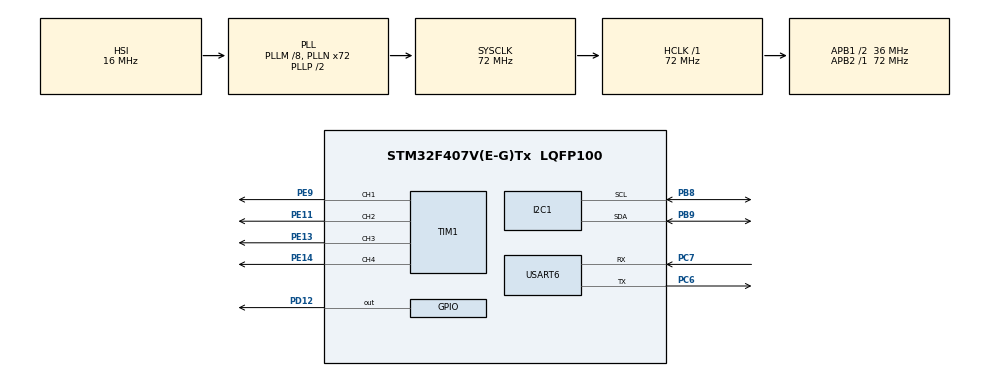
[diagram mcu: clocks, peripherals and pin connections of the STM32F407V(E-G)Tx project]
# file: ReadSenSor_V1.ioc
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I2C1.I2C_Mode=I2C_Fast
Mcu.Family=STM32F4
Mcu.Name=STM32F407V(E-G)Tx
Mcu.Package=LQFP100
NVIC.PriorityGroup=NVIC_PRIORITYGROUP_4
NVIC.TIM2_IRQn=true\:0\:0\:false\:false\:true\:true\:true\:true
NVIC.USART6_IRQn=true\:0\:0\:false\:false\:true\:true\:true\:true
PA13.Mode=Serial_Wire
PA13.Signal=SYS_JTMS-SWDIO
PA14.Mode=Serial_Wire
PA14.Signal=SYS_JTCK-SWCLK
PB8.Mode=I2C
PB8.Signal=I2C1_SCL
PB9.Mode=I2C
PB9.Signal=I2C1_SDA
PC6.Mode=Asynchronous
PC6.Signal=USART6_TX
PC7.Mode=Asynchronous
PC7.Signal=USART6_RX
PD12.Signal=GPIO_Output
PE11.Signal=S_TIM1_CH2
PE13.Signal=S_TIM1_CH3
PE14.Signal=S_TIM1_CH4
PE9.Signal=S_TIM1_CH1
PH0-OSC_IN.Mode=HSE-External-Oscillator
PH0-OSC_IN.Signal=RCC_OSC_IN
PH1-OSC_OUT.Mode=HSE-External-Oscillator
PH1-OSC_OUT.Signal=RCC_OSC_OUT
ProjectManager.HeapSize=0x200
ProjectManager.StackSize=0x400
ProjectManager.TargetToolchain=MDK-ARM V5.32
RCC.48MHZClocksFreq_Value=36000000
RCC.AHBFreq_Value=72000000
RCC.APB1CLKDivider=RCC_HCLK_DIV2
RCC.APB1Freq_Value=36000000
RCC.APB1TimFreq_Value=72000000
RCC.APB2Freq_Value=72000000
RCC.APB2TimFreq_Value=72000000
RCC.CortexFreq_Value=72000000
RCC.HCLKFreq_Value=72000000
RCC.HSE_VALUE=25000000
RCC.HSI_VALUE=16000000
RCC.LSE_VALUE=32768
RCC.PLLM=8
RCC.PLLN=72
RCC.SYSCLKFreq_VALUE=72000000
RCC.SYSCLKSource=RCC_SYSCLKSOURCE_PLLCLK
RCC.VCOOutputFreq_Value=144000000
SH.S_TIM1_CH1.0=TIM1_CH1,PWM Generation1 CH1
SH.S_TIM1_CH2.0=TIM1_CH2,PWM Generation2 CH2
SH.S_TIM1_CH3.0=TIM1_CH3,PWM Generation3 CH3
SH.S_TIM1_CH4.0=TIM1_CH4,PWM Generation4 CH4
TIM1.AutoReloadPreload=TIM_AUTORELOAD_PRELOAD_ENABLE
TIM1.Channel-PWM\ Generation1\ CH1=TIM_CHANNEL_1
TIM1.Channel-PWM\ Generation2\ CH2=TIM_CHANNEL_2
TIM1.Channel-PWM\ Generation3\ CH3=TIM_CHANNEL_3
TIM1.Channel-PWM\ Generation4\ CH4=TIM_CHANNEL_4
TIM2.AutoReloadPreload=TIM_AUTORELOAD_PRELOAD_ENABLE
TIM2.Period=72000000
USART6.VirtualMode=VM_ASYNC
VP_TIM1_VS_ClockSourceINT.Mode=Internal
VP_TIM2_VS_ClockSourceINT.Mode=Internal
board=custom

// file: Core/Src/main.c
/* USER CODE BEGIN Header */
/**
	******************************************************************************
	* @file           : main.c
	* @brief          : Main program body
	******************************************************************************
	* @attention
	*
	* Copyright (c) 2023 STMicroelectronics.
	* All rights reserved.
	*
	* This software is licensed under terms that can be found in the LICENSE file
	* in the root directory of this software component.
	* If no LICENSE file comes with this software, it is provided AS-IS.
	*
	******************************************************************************
	*/
/* USER CODE END Header */
#include "main.h"

/* USER CODE BEGIN Includes */
#include <math.h>
/* USER CODE END Includes */

/* USER CODE BEGIN PTD */

// MPU6050 structure
typedef struct {

    int16_t Accel_X_RAW;
    int16_t Accel_Y_RAW;
    int16_t Accel_Z_RAW;
    double Ax;
    double Ay;
    double Az;

    int16_t Gyro_X_RAW;
    int16_t Gyro_Y_RAW;
    int16_t Gyro_Z_RAW;
    double Gx;
    double Gy;
    double Gz;

		int16_t Magn_X_RAW;
    int16_t Magn_Y_RAW;
    int16_t Magn_Z_RAW;
    double Mx;
    double My;
    double Mz;
    float Temperature;
		float heading;
} MPU6050_t;
// Quaternion structure
typedef struct {
	  double q1;
    double q2;
    double q3;
    double q4;
} Quaternion_t;
// Kalman structure
typedef struct {
    double Q_angle;
    double Q_bias;
    double R_measure;
    double angle;
    double bias;
    double P[2][2];

} Kalman_t;
// Euler angle
typedef struct {
		double roll;
		double pitch;
		double yaw;
} Euler_t;

/* USER CODE END PTD */

/* USER CODE BEGIN PD */
#define PI													3.14159265358979
#define RAD_TO_DEG 									57.295779513082320876798154814105
#define DEG_TO_RAD									0.01745329252
#define SIMPLE_TIME									0.002 // 2ms
#define DELTA_T											SIMPLE_TIME // 2ms
#define GYRO_MEAN_ERROR 						PI * (5.0f / 180.0f) // 5 deg/s gyroscope measurement error (in rad/s)  *from paper*
#define BETA 												sqrt(3.0f/4.0f) * GYRO_MEAN_ERROR    //*from paper* 0.041
#define ZETA												0.015
/* Default I2C address */
#define MPU6050_ADDRESS							0x68
#define MPU6050_ADDR								0xD0

/* Who I am register value */
#define MPU6050_I_AM								0x68

/* MPU6050 registers */
#define MPU6050_AUX_VDDIO						0x01
#define	MPU6050_SELF_TEST_X 				0X0D
#define	MPU6050_SELF_TEST_Y 				0X0E
#define	MPU6050_SELF_TEST_Z 				0X0F
#define	MPU6050_SELF_TEST_A 				0X10
#define MPU6050_SMPLRT_DIV					0x19
#define MPU6050_CONFIG							0x1A
#define MPU6050_GYRO_CONFIG					0x1B
#define MPU6050_ACCEL_CONFIG				0x1C
#define MPU6050_MOTION_THRESH				0x1F
#define	MPU6050_FIFO_EN			 				0X23
#define	MPU6050_I2C_MST_CTRL				0X24
#define	MPU6050_I2C_SLV0_ADDR				0X25
#define	MPU6050_I2C_SLV0_REG				0X26
#define	MPU6050_I2C_SLV0_CTRL				0X27
#define MPU6050_INT_PIN_CFG					0x37
#define MPU6050_INT_ENABLE					0x38
#define MPU6050_INT_STATUS					0x3A
#define MPU6050_ACCEL_XOUT_H				0x3B
#define MPU6050_ACCEL_XOUT_L				0x3C
#define MPU6050_ACCEL_YOUT_H				0x3D
#define MPU6050_ACCEL_YOUT_L				0x3E
#define MPU6050_ACCEL_ZOUT_H				0x3F
#define MPU6050_ACCEL_ZOUT_L				0x40
#define MPU6050_TEMP_OUT_H					0x41
#define MPU6050_TEMP_OUT_L					0x42
#define MPU6050_GYRO_XOUT_H					0x43
#define MPU6050_GYRO_XOUT_L					0x44
#define MPU6050_GYRO_YOUT_H					0x45
#define MPU6050_GYRO_YOUT_L					0x46
#define MPU6050_GYRO_ZOUT_H					0x47
#define MPU6050_GYRO_ZOUT_L					0x48
#define MPU6050_MOT_DETECT_STATUS		0x61
#define MPU6050_I2C_MST_DELAY_CTRL	0x67
#define MPU6050_SIGNAL_PATH_RESET		0x68
#define MPU6050_MOT_DETECT_CTRL			0x69
#define MPU6050_USER_CTRL						0x6A
#define MPU6050_PWR_MGMT_1					0x6B
#define MPU6050_PWR_MGMT_2					0x6C
#define MPU6050_FIFO_COUNTH					0x72
#define MPU6050_FIFO_COUNTL					0x73
#define MPU6050_FIFO_R_W						0x74
#define MPU6050_WHO_AM_I						0x75

#define MPU6050_SMPLRT_DIV_1 				0x00
#define MPU6050_EXT_SYNC_SET				0x00 //Input disabled
#define MPU6050_DLPF_CFG						0x01 // acc {184Hz-2.0ms} gyro {188Hz-1.9ms} Fs 1kHz

#define MPU6050_XG_ST								0x01
#define MPU6050_YG_ST								0x01
#define MPU6050_ZG_ST								0x01
#define MPU6050_FS_SEL_250					0x00
#define MPU6050_FS_SEL_500					0x01
#define MPU6050_FS_SEL_1000					0x02
#define MPU6050_FS_SEL_2000					0x03

#define MPU6050_XA_ST								0x01
#define MPU6050_YA_ST								0x01
#define MPU6050_ZA_ST								0x01
#define MPU6050_AFS_SEL_2						0x00
#define MPU6050_AFS_SEL_4						0x01
#define MPU6050_AFS_SEL_8						0x02
#define MPU6050_AFS_SEL_16					0x03

#define MPU6050_I2C_MST_CLK_400			0x0D  //400 kHz
#define MPU6050_I2C_SLV0_DLY_EN			0x01

#define MPU6050_WAKEUP							0x00
#define MPU6050_CLKSEL_PLLX					0x01

/* Gyro sensitivities in degrees/s */
#define MPU6050_GYRO_SENS_250				((float) 131)
#define MPU6050_GYRO_SENS_500				((float) 65.5)
#define MPU6050_GYRO_SENS_1000			((float) 32.8)
#define MPU6050_GYRO_SENS_2000			((float) 16.4)

/* Acce sensitivities in g/s */
#define MPU6050_ACCE_SENS_2					((float) 16384)
#define MPU6050_ACCE_SENS_4					((float) 8192)
#define MPU6050_ACCE_SENS_8					((float) 4096)
#define MPU6050_ACCE_SENS_16				((float) 2048)

/* Default I2C address */
#define HMC5883L_ADDRESS 						0x1E
#define HMC5883L_ADDR 							0x3C
/* HMC5883L registers */
#define HMC5883L_CONFIG_A       		0x00
#define HMC5883L_CONFIG_B        		0x01
#define HMC5883L_MODE            		0x02
#define HMC5883L_DATAX_H         		0x03
#define HMC5883L_DATAX_L        		0x04
#define HMC5883L_DATAZ_H        		0x05
#define HMC5883L_DATAZ_L         		0x06
#define HMC5883L_DATAY_H         		0x07
#define HMC5883L_DATAY_L         		0x08
#define HMC5883L_STATUS         		0x09
#define HMC5883L_ID_A            		0x0A
#define HMC5883L_ID_B            		0x0B
#define HMC5883L_ID_C            		0x0C

#define HMC5883L_AVERAGING_1        0x00
#define HMC5883L_AVERAGING_2        0x01
#define HMC5883L_AVERAGING_4        0x02
#define HMC5883L_AVERAGING_8        0x03

#define HMC5883L_RATE_0P75          0x00
#define HMC5883L_RATE_1P5           0x01
#define HMC5883L_RATE_3             0x02
#define HMC5883L_RATE_7P5           0x03
#define HMC5883L_RATE_15            0x04
#define HMC5883L_RATE_30            0x05
#define HMC5883L_RATE_75            0x06

#define HMC5883L_BIAS_NORMAL        0x00
#define HMC5883L_BIAS_POSITIVE      0x01
#define HMC5883L_BIAS_NEGATIVE      0x02

#define HMC5883L_SEL_0P88          	0x00
#define HMC5883L_SEL_1P3          	0x01
#define HMC5883L_SEL_1P9          	0x02
#define HMC5883L_SEL_2P5           	0x03
#define HMC5883L_SEL_4P0           	0x04
#define HMC5883L_SEL_4P7           	0x05
#define HMC5883L_SEL_5P6           	0x06
#define HMC5883L_SEL_8P1           	0x07

#define HMC5883L_MODE_CONTINUOUS    0x00
#define HMC5883L_MODE_SINGLE        0x01
#define HMC5883L_MODE_IDLE          0x02

#define HMC5883L_STATUS_LOCK_BIT    1
#define HMC5883L_STATUS_READY_BIT   0

#define HMC5883L_MAGN_SENS_0P88     ((float) 1370)
#define HMC5883L_MAGN_SENS_1P3      ((float) 1090)
#define HMC5883L_MAGN_SENS_1P9      ((float) 820)
#define HMC5883L_MAGN_SENS_2P5      ((float) 660)
#define HMC5883L_MAGN_SENS_4P0      ((float) 440)
#define HMC5883L_MAGN_SENS_4P7      ((float) 390)
#define HMC5883L_MAGN_SENS_5P6      ((float) 330)
#define HMC5883L_MAGN_SENS_8P1      ((float) 230)
/* Default I2C address */
#define MS5611_ADDRESS  						0x77
#define MS5611_ADDR  								0xEE

/* USER CODE END PD */

I2C_HandleTypeDef hi2c1;

TIM_HandleTypeDef htim1;
TIM_HandleTypeDef htim2;

UART_HandleTypeDef huart6;

/* USER CODE BEGIN PV */
const uint16_t i2c_timeout = 100;
const double Accel_Z_corrector = 14418.0;
uint32_t timer;
MPU6050_t MPU6050;
Kalman_t Kalman = {
    .Q_angle = 0.001f,
    .Q_bias = 0.003f,
    .R_measure = 0.03f,
};
Euler_t Madgwick = {0};
double b2 ;
double b4 ;
/* USER CODE END PV */

void SystemClock_Config(void);
static void MX_GPIO_Init(void);
static void MX_I2C1_Init(void);
static void MX_TIM1_Init(void);
static void MX_TIM2_Init(void);
static void MX_USART6_UART_Init(void);
/* USER CODE BEGIN PFP */
void scanner(void);
uint8_t MPU6050_Init(I2C_HandleTypeDef *I2Cx);
void MPU6050_Bypass(I2C_HandleTypeDef *I2Cx);
void MPU6050_Master(I2C_HandleTypeDef *I2Cx);
void MPU6050_Addslave(I2C_HandleTypeDef *I2Cx);
void MPU6050_Read_All(I2C_HandleTypeDef *I2Cx, MPU6050_t *DataStruct);
void HMC5883L_Init(I2C_HandleTypeDef *I2Cx);
Quaternion_t quat_mult (Quaternion_t L, Quaternion_t R);
void quat_scalar(Quaternion_t * q, float scalar);
void quat_add(Quaternion_t * Sum, Quaternion_t L, Quaternion_t R);
void quat_sub(Quaternion_t * Sum, Quaternion_t L, Quaternion_t R);
Quaternion_t quat_conjugate(Quaternion_t q);
double quat_Norm (Quaternion_t q);
void quat_Normalization(Quaternion_t * q);
void Madgwick_imu(MPU6050_t *DataStruct);
void eulerAngles(Quaternion_t q, Euler_t *Angle);
/* USER CODE END PFP */

int main(void)
{

  /* MCU Configuration--------------------------------------------------------*/

  /* Reset of all peripherals, Initializes the Flash interface and the Systick. */
  HAL_Init();

  /* Configure the system clock */
  SystemClock_Config();

  /* Initialize all configured peripherals */
  MX_GPIO_Init();
  MX_I2C1_Init();
  MX_TIM1_Init();
  MX_TIM2_Init();
  MX_USART6_UART_Init();
  /* USER CODE BEGIN 2 */
	scanner();
	while (MPU6050_Init(&hi2c1) == 1);
	MPU6050_Bypass(&hi2c1);
	scanner();
	HMC5883L_Init(&hi2c1);
	MPU6050_Master(&hi2c1);
	MPU6050_Addslave(&hi2c1);
	HAL_TIM_Base_Start_IT(&htim2);
  /* USER CODE END 2 */

  /* Infinite loop */
	while (1)
	{
	}
}

void SystemClock_Config(void)
{
  RCC_OscInitTypeDef RCC_OscInitStruct = {0};
  RCC_ClkInitTypeDef RCC_ClkInitStruct = {0};

  /** Configure the main internal regulator output voltage
  */
  __HAL_RCC_PWR_CLK_ENABLE();
  __HAL_PWR_VOLTAGESCALING_CONFIG(PWR_REGULATOR_VOLTAGE_SCALE1);

  /** Initializes the RCC Oscillators according to the specified parameters
  * in the RCC_OscInitTypeDef structure.
  */
  RCC_OscInitStruct.OscillatorType = RCC_OSCILLATORTYPE_HSI;
  RCC_OscInitStruct.HSIState = RCC_HSI_ON;
  RCC_OscInitStruct.HSICalibrationValue = RCC_HSICALIBRATION_DEFAULT;
  RCC_OscInitStruct.PLL.PLLState = RCC_PLL_ON;
  RCC_OscInitStruct.PLL.PLLSource = RCC_PLLSOURCE_HSI;
  RCC_OscInitStruct.PLL.PLLM = 8;
  RCC_OscInitStruct.PLL.PLLN = 72;
  RCC_OscInitStruct.PLL.PLLP = RCC_PLLP_DIV2;
  RCC_OscInitStruct.PLL.PLLQ = 4;
  if (HAL_RCC_OscConfig(&RCC_OscInitStruct) != HAL_OK)
  {
    Error_Handler();
  }

  /** Initializes the CPU, AHB and APB buses clocks
  */
  RCC_ClkInitStruct.ClockType = RCC_CLOCKTYPE_HCLK|RCC_CLOCKTYPE_SYSCLK
                              |RCC_CLOCKTYPE_PCLK1|RCC_CLOCKTYPE_PCLK2;
  RCC_ClkInitStruct.SYSCLKSource = RCC_SYSCLKSOURCE_PLLCLK;
  RCC_ClkInitStruct.AHBCLKDivider = RCC_SYSCLK_DIV1;
  RCC_ClkInitStruct.APB1CLKDivider = RCC_HCLK_DIV2;
  RCC_ClkInitStruct.APB2CLKDivider = RCC_HCLK_DIV1;

  if (HAL_RCC_ClockConfig(&RCC_ClkInitStruct, FLASH_LATENCY_2) != HAL_OK)
  {
    Error_Handler();
  }
}

static void MX_I2C1_Init(void)
{

  hi2c1.Instance = I2C1;
  hi2c1.Init.ClockSpeed = 400000;
  hi2c1.Init.DutyCycle = I2C_DUTYCYCLE_2;
  hi2c1.Init.OwnAddress1 = 0;
  hi2c1.Init.AddressingMode = I2C_ADDRESSINGMODE_7BIT;
  hi2c1.Init.DualAddressMode = I2C_DUALADDRESS_DISABLE;
  hi2c1.Init.OwnAddress2 = 0;
  hi2c1.Init.GeneralCallMode = I2C_GENERALCALL_DISABLE;
  hi2c1.Init.NoStretchMode = I2C_NOSTRETCH_DISABLE;
  if (HAL_I2C_Init(&hi2c1) != HAL_OK)
  {
    Error_Handler();
  }

}

static void MX_TIM1_Init(void)
{

  TIM_ClockConfigTypeDef sClockSourceConfig = {0};
  TIM_MasterConfigTypeDef sMasterConfig = {0};
  TIM_OC_InitTypeDef sConfigOC = {0};
  TIM_BreakDeadTimeConfigTypeDef sBreakDeadTimeConfig = {0};

  htim1.Instance = TIM1;
  htim1.Init.Prescaler = 0;
  htim1.Init.CounterMode = TIM_COUNTERMODE_UP;
  htim1.Init.Period = 65535;
  htim1.Init.ClockDivision = TIM_CLOCKDIVISION_DIV1;
  htim1.Init.RepetitionCounter = 0;
  htim1.Init.AutoReloadPreload = TIM_AUTORELOAD_PRELOAD_ENABLE;
  if (HAL_TIM_Base_Init(&htim1) != HAL_OK)
  {
    Error_Handler();
  }
  sClockSourceConfig.ClockSource = TIM_CLOCKSOURCE_INTERNAL;
  if (HAL_TIM_ConfigClockSource(&htim1, &sClockSourceConfig) != HAL_OK)
  {
    Error_Handler();
  }
  if (HAL_TIM_PWM_Init(&htim1) != HAL_OK)
  {
    Error_Handler();
  }
  sMasterConfig.MasterOutputTrigger = TIM_TRGO_RESET;
  sMasterConfig.MasterSlaveMode = TIM_MASTERSLAVEMODE_DISABLE;
  if (HAL_TIMEx_MasterConfigSynchronization(&htim1, &sMasterConfig) != HAL_OK)
  {
    Error_Handler();
  }
  sConfigOC.OCMode = TIM_OCMODE_PWM1;
  sConfigOC.Pulse = 0;
  sConfigOC.OCPolarity = TIM_OCPOLARITY_HIGH;
  sConfigOC.OCNPolarity = TIM_OCNPOLARITY_HIGH;
  sConfigOC.OCFastMode = TIM_OCFAST_DISABLE;
  sConfigOC.OCIdleState = TIM_OCIDLESTATE_RESET;
  sConfigOC.OCNIdleState = TIM_OCNIDLESTATE_RESET;
  if (HAL_TIM_PWM_ConfigChannel(&htim1, &sConfigOC, TIM_CHANNEL_1) != HAL_OK)
  {
    Error_Handler();
  }
  if (HAL_TIM_PWM_ConfigChannel(&htim1, &sConfigOC, TIM_CHANNEL_2) != HAL_OK)
  {
    Error_Handler();
  }
  if (HAL_TIM_PWM_ConfigChannel(&htim1, &sConfigOC, TIM_CHANNEL_3) != HAL_OK)
  {
    Error_Handler();
  }
  if (HAL_TIM_PWM_ConfigChannel(&htim1, &sConfigOC, TIM_CHANNEL_4) != HAL_OK)
  {
    Error_Handler();
  }
  sBreakDeadTimeConfig.OffStateRunMode = TIM_OSSR_DISABLE;
  sBreakDeadTimeConfig.OffStateIDLEMode = TIM_OSSI_DISABLE;
  sBreakDeadTimeConfig.LockLevel = TIM_LOCKLEVEL_OFF;
  sBreakDeadTimeConfig.DeadTime = 0;
  sBreakDeadTimeConfig.BreakState = TIM_BREAK_DISABLE;
  sBreakDeadTimeConfig.BreakPolarity = TIM_BREAKPOLARITY_HIGH;
  sBreakDeadTimeConfig.AutomaticOutput = TIM_AUTOMATICOUTPUT_DISABLE;
  if (HAL_TIMEx_ConfigBreakDeadTime(&htim1, &sBreakDeadTimeConfig) != HAL_OK)
  {
    Error_Handler();
  }
  HAL_TIM_MspPostInit(&htim1);

}

static void MX_TIM2_Init(void)
{

  TIM_ClockConfigTypeDef sClockSourceConfig = {0};
  TIM_MasterConfigTypeDef sMasterConfig = {0};

  htim2.Instance = TIM2;
  htim2.Init.Prescaler = 0;
  htim2.Init.CounterMode = TIM_COUNTERMODE_UP;
  htim2.Init.Period = 72000000*SIMPLE_TIME;
  htim2.Init.ClockDivision = TIM_CLOCKDIVISION_DIV1;
  htim2.Init.AutoReloadPreload = TIM_AUTORELOAD_PRELOAD_ENABLE;
  if (HAL_TIM_Base_Init(&htim2) != HAL_OK)
  {
    Error_Handler();
  }
  sClockSourceConfig.ClockSource = TIM_CLOCKSOURCE_INTERNAL;
  if (HAL_TIM_ConfigClockSource(&htim2, &sClockSourceConfig) != HAL_OK)
  {
    Error_Handler();
  }
  sMasterConfig.MasterOutputTrigger = TIM_TRGO_RESET;
  sMasterConfig.MasterSlaveMode = TIM_MASTERSLAVEMODE_DISABLE;
  if (HAL_TIMEx_MasterConfigSynchronization(&htim2, &sMasterConfig) != HAL_OK)
  {
    Error_Handler();
  }

}

static void MX_USART6_UART_Init(void)
{

  huart6.Instance = USART6;
  huart6.Init.BaudRate = 115200;
  huart6.Init.WordLength = UART_WORDLENGTH_8B;
  huart6.Init.StopBits = UART_STOPBITS_1;
  huart6.Init.Parity = UART_PARITY_NONE;
  huart6.Init.Mode = UART_MODE_TX_RX;
  huart6.Init.HwFlowCtl = UART_HWCONTROL_NONE;
  huart6.Init.OverSampling = UART_OVERSAMPLING_16;
  if (HAL_UART_Init(&huart6) != HAL_OK)
  {
    Error_Handler();
  }

}

static void MX_GPIO_Init(void)
{
  GPIO_InitTypeDef GPIO_InitStruct = {0};

  /* GPIO Ports Clock Enable */
  __HAL_RCC_GPIOH_CLK_ENABLE();
  __HAL_RCC_GPIOE_CLK_ENABLE();
  __HAL_RCC_GPIOD_CLK_ENABLE();
  __HAL_RCC_GPIOC_CLK_ENABLE();
  __HAL_RCC_GPIOA_CLK_ENABLE();
  __HAL_RCC_GPIOB_CLK_ENABLE();

  /*Configure GPIO pin Output Level */
  HAL_GPIO_WritePin(GPIOD, GPIO_PIN_12, GPIO_PIN_RESET);

  /*Configure GPIO pin : PD12 */
  GPIO_InitStruct.Pin = GPIO_PIN_12;
  GPIO_InitStruct.Mode = GPIO_MODE_OUTPUT_PP;
  GPIO_InitStruct.Pull = GPIO_NOPULL;
  GPIO_InitStruct.Speed = GPIO_SPEED_FREQ_LOW;
  HAL_GPIO_Init(GPIOD, &GPIO_InitStruct);

}

/* USER CODE BEGIN 4 */
void scanner(void)
{
uint8_t Buffer[25] = {0};
uint8_t Space[] = " - ";
uint8_t StartMSG[] = "Starting I2C Scanning: \r\n";
uint8_t EndMSG[] = "Done! \r\n\r\n";
uint8_t i = 0, ret;

/*-[ I2C Bus Scanning ]-*/
		HAL_UART_Transmit(&huart6, StartMSG, sizeof(StartMSG), 100);
		for(i=1; i<128; i++)
		{
				ret = HAL_I2C_IsDeviceReady(&hi2c1, (uint16_t)(i<<1), 3, 5);
				if (ret != HAL_OK) /* No ACK Received At That Address */
				{
						HAL_UART_Transmit(&huart6, Space, sizeof(Space), 100);
				}
				else if(ret == HAL_OK)
				{
						sprintf(Buffer, "0x%X", i);
						HAL_UART_Transmit(&huart6, Buffer, sizeof(Buffer), 100);
				}
		}
		HAL_UART_Transmit(&huart6, EndMSG, sizeof(EndMSG), 100);
		/*--[ Scanning Done ]--*/
}
uint8_t MPU6050_Init(I2C_HandleTypeDef *I2Cx)
{
    uint8_t check;
    uint8_t Data;

    // check device ID WHO_AM_I
    HAL_I2C_Mem_Read(I2Cx, MPU6050_ADDR, MPU6050_WHO_AM_I, 1, &check, 1, i2c_timeout);
    if (check == 104) // 0x68 will be returned by the sensor if everything goes well
    {
        // power management register 0X6B we should write all 0's to wake the sensor up, gyroscope based clock
        Data = MPU6050_WAKEUP << 6 | MPU6050_CLKSEL_PLLX;
        HAL_I2C_Mem_Write(I2Cx, MPU6050_ADDR, MPU6050_PWR_MGMT_1, 1, &Data, 1, i2c_timeout);

        // Set DATA RATE of 1KHz by writing SMPLRT_DIV register
        Data = MPU6050_SMPLRT_DIV_1;
        HAL_I2C_Mem_Write(I2Cx, MPU6050_ADDR, MPU6050_SMPLRT_DIV, 1, &Data, 1, i2c_timeout);

				//This register configures the external Frame Synchronization (FSYNC) pin sampling
				//the Digital Low Pass Filter (DLPF) setting for both the gyroscopes and accelerometers
				Data = MPU6050_EXT_SYNC_SET << 3 | MPU6050_DLPF_CFG;
        HAL_I2C_Mem_Write(I2Cx, MPU6050_ADDR, MPU6050_CONFIG, 1, &Data, 1, i2c_timeout);

				// Set Gyroscopic configuration in GYRO_CONFIG Register
        // XG_ST=0,YG_ST=0,ZG_ST=0, FS_SEL=0 -> +- 250 degree/s
        Data = MPU6050_FS_SEL_250 << 3 | 0x00;
        HAL_I2C_Mem_Write(I2Cx, MPU6050_ADDR, MPU6050_GYRO_CONFIG, 1, &Data, 1, i2c_timeout);

				// Set accelerometer configuration in ACCEL_CONFIG Register
        // XA_ST=0,YA_ST=0,ZA_ST=0, FS_SEL=0 -> +- 2g
        Data = MPU6050_AFS_SEL_2 << 3 | 0x00;
        HAL_I2C_Mem_Write(I2Cx, MPU6050_ADDR, MPU6050_ACCEL_CONFIG, 1, &Data, 1, i2c_timeout);

				//sets the I2C master clock speed
				Data = MPU6050_I2C_MST_CLK_400;
        HAL_I2C_Mem_Write(I2Cx, MPU6050_ADDR, MPU6050_I2C_MST_CTRL, 1, &Data, 1, i2c_timeout);
				return 0;
    }
    return 1;
}
void MPU6050_Bypass(I2C_HandleTypeDef *I2Cx)
{
		uint8_t Data;
		// disable i2c master mode
		Data = 0x00;
		HAL_I2C_Mem_Write(I2Cx, MPU6050_ADDR, MPU6050_USER_CTRL, 1, &Data, 1, i2c_timeout);
		// enable i2c master bypass mode
		Data = 0x02;
		HAL_I2C_Mem_Write(I2Cx, MPU6050_ADDR, MPU6050_INT_PIN_CFG, 1, &Data, 1, i2c_timeout);
}
void MPU6050_Master(I2C_HandleTypeDef *I2Cx)
{
		uint8_t Data;
		// disable i2c master bypass mode
		Data = 0x00;
		HAL_I2C_Mem_Write(I2Cx, MPU6050_ADDR, MPU6050_INT_PIN_CFG, 1, &Data, 1, i2c_timeout);
		// enable i2c master mode
		Data = 0x20;
		HAL_I2C_Mem_Write(I2Cx, MPU6050_ADDR, MPU6050_USER_CTRL, 1, &Data, 1, i2c_timeout);
}
// configure the MPU6050 to automatically read the magnetometer
void MPU6050_Addslave(I2C_HandleTypeDef *I2Cx)
{
		uint8_t Data;
		// slave 0 i2c address, read mode
		Data = HMC5883L_ADDRESS | 0x80;
		HAL_I2C_Mem_Write(I2Cx, MPU6050_ADDR, MPU6050_I2C_SLV0_ADDR, 1, &Data, 1, i2c_timeout);
		// slave 0 register = 0x03 (x axis)
		Data = HMC5883L_DATAX_H ;
		HAL_I2C_Mem_Write(I2Cx, MPU6050_ADDR, MPU6050_I2C_SLV0_REG, 1, &Data, 1, i2c_timeout);
		// slave 0 transfer size = 6, enabled
		Data =  0x06 | 0x80;
		HAL_I2C_Mem_Write(I2Cx, MPU6050_ADDR, MPU6050_I2C_SLV0_CTRL, 1, &Data, 1, i2c_timeout);
		// enable slave 0 delay
		Data =  MPU6050_I2C_SLV0_DLY_EN;
		HAL_I2C_Mem_Write(I2Cx, MPU6050_ADDR, MPU6050_I2C_MST_DELAY_CTRL, 1, &Data, 1, i2c_timeout);
}
void MPU6050_Read_All(I2C_HandleTypeDef *I2Cx, MPU6050_t *DataStruct)
{
    uint8_t Rec_Data[20];
    int16_t temp;

    // Read 14 BYTES of data starting from ACCEL_XOUT_H register

    HAL_I2C_Mem_Read(I2Cx, MPU6050_ADDR, MPU6050_ACCEL_XOUT_H, 1, Rec_Data, 20, i2c_timeout);

    DataStruct->Accel_X_RAW = (int16_t)(Rec_Data[0] << 8 | Rec_Data[1]);
    DataStruct->Accel_Y_RAW = (int16_t)(Rec_Data[2] << 8 | Rec_Data[3]);
    DataStruct->Accel_Z_RAW = (int16_t)(Rec_Data[4] << 8 | Rec_Data[5]);

    temp = (int16_t)(Rec_Data[6] << 8 | Rec_Data[7]);

    DataStruct->Gyro_X_RAW = (int16_t)(Rec_Data[8] << 8 | Rec_Data[9]);
    DataStruct->Gyro_Y_RAW = (int16_t)(Rec_Data[10] << 8 | Rec_Data[11]);
    DataStruct->Gyro_Z_RAW = (int16_t)(Rec_Data[12] << 8 | Rec_Data[13]);

    DataStruct->Magn_X_RAW = (int16_t)(Rec_Data[14] << 8 | Rec_Data[15]);
    DataStruct->Magn_Z_RAW = (int16_t)(Rec_Data[16] << 8 | Rec_Data[17]);
    DataStruct->Magn_Y_RAW = (int16_t)(Rec_Data[18] << 8 | Rec_Data[19]);

    DataStruct->Ax = DataStruct->Accel_X_RAW / MPU6050_ACCE_SENS_2;
    DataStruct->Ay = DataStruct->Accel_Y_RAW / MPU6050_ACCE_SENS_2;
    DataStruct->Az = DataStruct->Accel_Z_RAW / MPU6050_ACCE_SENS_2;

    DataStruct->Temperature = (float)((int16_t)temp / (float)340.0 + (float)36.53);

    DataStruct->Gx = DataStruct->Gyro_X_RAW / MPU6050_GYRO_SENS_250 * DEG_TO_RAD;
    DataStruct->Gy = DataStruct->Gyro_Y_RAW / MPU6050_GYRO_SENS_250 * DEG_TO_RAD;
    DataStruct->Gz = DataStruct->Gyro_Z_RAW / MPU6050_GYRO_SENS_250 * DEG_TO_RAD;

		DataStruct->Mx = DataStruct->Magn_X_RAW / HMC5883L_MAGN_SENS_1P3;
    DataStruct->My = DataStruct->Magn_Y_RAW / HMC5883L_MAGN_SENS_1P3;
    DataStruct->Mz = DataStruct->Magn_Z_RAW / HMC5883L_MAGN_SENS_1P3;

//		// To calculate heading in degrees. 0 degree indicates North
//		DataStruct->heading = atan2(DataStruct->My,DataStruct->Mx) * RAD_TO_DEG;
//		if(DataStruct->heading < 0)
//    DataStruct->heading += 360;
}
void HMC5883L_Init(I2C_HandleTypeDef *I2Cx)
{
		uint8_t Data;
		// write CONFIG_A register
		Data = HMC5883L_AVERAGING_1 << 5 | HMC5883L_RATE_75 << 2 | HMC5883L_BIAS_NORMAL;
		HAL_I2C_Mem_Write(I2Cx, HMC5883L_ADDR, HMC5883L_CONFIG_A, 1, &Data, 1, i2c_timeout);
		// write CONFIG_B register
		Data = HMC5883L_SEL_1P3 << 5 | 0x00 ;
		HAL_I2C_Mem_Write(I2Cx, HMC5883L_ADDR, HMC5883L_CONFIG_B, 1, &Data, 1, i2c_timeout);
		// write MODE register
		Data = HMC5883L_MODE_CONTINUOUS ;
		HAL_I2C_Mem_Write(I2Cx, HMC5883L_ADDR, HMC5883L_MODE, 1, &Data, 1, i2c_timeout);
}

// Multiply two quaternions and return a copy of the result, prod = L * R
Quaternion_t quat_mult (Quaternion_t L, Quaternion_t R)
{
		Quaternion_t product;
		product.q1 = (L.q1 * R.q1) - (L.q2 * R.q2) - (L.q3 * R.q3) - (L.q4 * R.q4);
    product.q2 = (L.q1 * R.q2) + (L.q2 * R.q1) + (L.q3 * R.q4) - (L.q4 * R.q3);
    product.q3 = (L.q1 * R.q3) - (L.q2 * R.q4) + (L.q3 * R.q1) + (L.q4 * R.q2);
    product.q4 = (L.q1 * R.q4) + (L.q2 * R.q3) - (L.q3 * R.q2) + (L.q4 * R.q1);

    return product;
}

// Multiply a reference of a quaternion by a scalar, q = s*q
void quat_scalar(Quaternion_t * q, float scalar)
{
    q->q1 *= scalar;
    q->q2 *= scalar;
    q->q3 *= scalar;
    q->q4 *= scalar;
}

// Adds two quaternions together and the sum is the pointer to another quaternion, Sum = L + R
void quat_add(Quaternion_t * Sum, Quaternion_t L, Quaternion_t R)
{
    Sum -> q1 = L.q1 + R.q1;
    Sum -> q2 = L.q2 + R.q2;
    Sum -> q3 = L.q3 + R.q3;
    Sum -> q4 = L.q4 + R.q4;
}
// Subtracts two quaternions together and the sum is the pointer to another quaternion, sum = L - R
void quat_sub(Quaternion_t * Sum, Quaternion_t L, Quaternion_t R)
{
    Sum -> q1 = L.q1 - R.q1;
    Sum -> q2 = L.q2 - R.q2;
    Sum -> q3 = L.q3 - R.q3;
    Sum -> q4 = L.q4 - R.q4;
}
// the conjugate of a quaternion is it's imaginary component sign changed  q* = [s, -v] if q = [s, v]
Quaternion_t quat_conjugate(Quaternion_t q)
{
    q.q2 = -q.q2;
    q.q3 = -q.q3;
    q.q4 = -q.q4;
    return q;
}

// norm of a quaternion is the same as a complex number
double quat_Norm (Quaternion_t q)
{
    return sqrt(q.q1*q.q1 + q.q2*q.q2 + q.q3*q.q3 +q.q4*q.q4);
}

// Normalizes pointer q by calling quat_Norm(q),
void quat_Normalization(Quaternion_t * q)
{
    float norm = quat_Norm(*q);
    q -> q1 /= norm;
    q -> q2 /= norm;
    q -> q3 /= norm;
    q -> q4 /= norm;
}
void Madgwick_update(MPU6050_t *DataStruct)
{
		static Quaternion_t q_est 	= {1,0,0,0};
		double ax = DataStruct->Ax;
    double ay = DataStruct->Ay;
		double az = DataStruct->Az;
		double gx = DataStruct->Gx;
		double gy = DataStruct->Gy;
		double gz = DataStruct->Gz;
		double mx = DataStruct->Mx;
		double my = DataStruct->My;
		double mz = DataStruct->Mz;
    //Variables and constants
		double F_g [3] = {0};                      // eq(15/21/25) objective function for gravity
    double J_g [3][4] = {0};                   // jacobian matrix for gravity
		double F_b [3] = {0};                      // eq(15/21/29) objective function for gravity
    double J_b [3][4] = {0};                   // jacobian matrix for magnetic
		static Quaternion_t q_w_gradient_integral = {0};
    Quaternion_t q_est_prev = q_est;
    Quaternion_t q_est_dot = {0};            	// eq 42 and 43
    Quaternion_t gradient = {0};

    Quaternion_t q_a = {0, ax, ay, az};    		// eq (24) raw acceleration values, needs to be normalized
    if (quat_Norm(q_a) == 0) return;
		quat_Normalization(&q_a);              		// normalize the acceleration quaternion to be a unit quaternion
		//const Quaternion_t q_g_ref = {0, 0, 0, 1};// eq (23) not needed because I used eq 25 instead of eq 21

		Quaternion_t q_m = {0, mx, my, mz};    		// eq (28) raw magnetic values, needs to be normalized
    if (quat_Norm(q_m) == 0)
		{
			Madgwick_imu(&MPU6050);
			return;
		}
		quat_Normalization(&q_m);    							// normalize the magnetic quaternion to be a unit quaternion
		//const Quaternion_t q_b_ref = {0, 0.99, 0, -0.13};
		// Magnetic distortion compensation
		Quaternion_t h = quat_mult(q_est_prev,quat_mult(q_m,quat_conjugate(q_est_prev))); // eq(45) (Group 1)
		Quaternion_t b = {0, sqrt(h.q2*h.q2 + h.q3*h.q3), 0, h.q4};  // {0, 0.99, 0, -0.13} // eq(46)

    Quaternion_t q_w = {0, gx, gy, gz};  			// eq (10), places gyroscope readings in a quaternion

    //Compute the objective function for gravity, simplified to equation (25) due to the 0's in the acceleration reference quaternion
    F_g[0] = 2*(q_est_prev.q2 * q_est_prev.q4 - q_est_prev.q1 * q_est_prev.q3) - q_a.q2;
    F_g[1] = 2*(q_est_prev.q1 * q_est_prev.q2 + q_est_prev.q3* q_est_prev.q4) - q_a.q3;
    F_g[2] = 2*(0.5 - q_est_prev.q2 * q_est_prev.q2 - q_est_prev.q3 * q_est_prev.q3) - q_a.q4;

    //Compute the Jacobian matrix, equation (26), for gravity
    J_g[0][0] = -2 * q_est_prev.q3;
    J_g[0][1] =  2 * q_est_prev.q4;
    J_g[0][2] = -2 * q_est_prev.q1;
    J_g[0][3] =  2 * q_est_prev.q2;

    J_g[1][0] = 2 * q_est_prev.q2;
    J_g[1][1] = 2 * q_est_prev.q1;
    J_g[1][2] = 2 * q_est_prev.q4;
    J_g[1][3] = 2 * q_est_prev.q3;

    J_g[2][0] = 0;
    J_g[2][1] = -4 * q_est_prev.q2;
    J_g[2][2] = -4 * q_est_prev.q3;
    J_g[2][3] = 0;

		// Compute the objective function for magnetic, simplified to equation (29) due to the 0's in the magnetic reference quaternion
		F_b[0] = 2*b.q2*(0.5 - q_est_prev.q3*q_est_prev.q3 - q_est_prev.q4*q_est_prev.q4) + 2*b.q4*(q_est_prev.q2*q_est_prev.q4 - q_est_prev.q1*q_est_prev.q3) - q_m.q2;
    F_b[1] = 2*b.q2*(q_est_prev.q2*q_est_prev.q3 - q_est_prev.q1*q_est_prev.q4) + 2*b.q4*(q_est_prev.q1*q_est_prev.q2 + q_est_prev.q3*q_est_prev.q4) - q_m.q3;
    F_b[2] = 2*b.q2*(q_est_prev.q1*q_est_prev.q3 + q_est_prev.q2*q_est_prev.q4) + 2*b.q4*(0.5 - q_est_prev.q2*q_est_prev.q2 - q_est_prev.q3*q_est_prev.q3) - q_m.q4;

		//Compute the Jacobian matrix, equation (26), for magnetic

		J_b[0][0] = -2 * b.q4 * q_est_prev.q3;
    J_b[0][1] =  2 * b.q4 * q_est_prev.q4;
    J_b[0][2] = -4 * b.q2 * q_est_prev.q3 - 2 * b.q4 * q_est_prev.q1;
    J_b[0][3] = -4 * b.q2 * q_est_prev.q4 + 2 * b.q4 * q_est_prev.q2;

    J_b[1][0] = -2 * b.q2 * q_est_prev.q4 + 2 * b.q4 * q_est_prev.q2;
    J_b[1][1] =  2 * b.q2 * q_est_prev.q3 + 2 * b.q4 * q_est_prev.q1;
    J_b[1][2] =  2 * b.q2 * q_est_prev.q2 + 2 * b.q4 * q_est_prev.q4;
    J_b[1][3] = -2 * b.q2 * q_est_prev.q1 + 2 * b.q4 * q_est_prev.q3;

    J_b[2][0] =  2 * b.q2 * q_est_prev.q3;
    J_b[2][1] =  2 * b.q2 * q_est_prev.q4 - 4 * b.q4 * q_est_prev.q2;
    J_b[2][2] =  2 * b.q2 * q_est_prev.q1 - 4 * b.q4 * q_est_prev.q3;
    J_b[2][3] =  2 * b.q2 * q_est_prev.q2;

    // now computer the gradient, equation (20), gradient = J_g'*F_g + J_b'*F_b
    gradient.q1 = J_g[0][0] * F_g[0] + J_g[1][0] * F_g[1] + J_g[2][0] * F_g[2] + J_b[0][0] * F_b[0] + J_b[1][0] * F_b[1] + J_b[2][0] * F_b[2] ;
    gradient.q2 = J_g[0][1] * F_g[0] + J_g[1][1] * F_g[1] + J_g[2][1] * F_g[2] + J_b[0][1] * F_b[0] + J_b[1][1] * F_b[1] + J_b[2][1] * F_b[2];
    gradient.q3 = J_g[0][2] * F_g[0] + J_g[1][2] * F_g[1] + J_g[2][2] * F_g[2] + J_b[0][2] * F_b[0] + J_b[1][2] * F_b[1] + J_b[2][2] * F_b[2];
    gradient.q4 = J_g[0][3] * F_g[0] + J_g[1][3] * F_g[1] + J_g[2][3] * F_g[2] + J_b[0][3] * F_b[0] + J_b[1][3] * F_b[1] + J_b[2][3] * F_b[2];

    // Normalize the gradient, equation (44)
    quat_Normalization(&gradient);

		// Gyroscope bias drift compensation (Group 2)
		Quaternion_t q_w_gradient = quat_mult(quat_conjugate(q_est_prev),gradient);
		quat_scalar(&q_w_gradient,2*DELTA_T);
		quat_add(&q_w_gradient_integral, q_w_gradient_integral, q_w_gradient);
		quat_scalar(&q_w_gradient_integral,ZETA);
		quat_sub(&q_w, q_w, q_w_gradient_integral);
		//Orientation from angular rate
		quat_scalar(&q_w, 0.5);                 	// equation (12) dq/dt = (1/2)q*w
    q_w = quat_mult(q_est_prev, q_w);        	// equation (12)
		// quat_scalar(&q_w, deltaT);             // eq (13) integrates the angles velocity to position
    // quat_add(&q_w, q_w, q_est_prev);       // addition part of equation (13)

		// Combining
    quat_scalar(&gradient, BETA);             // multiply normalized gradient by beta
    quat_sub(&q_est_dot, q_w, gradient);        // subtract above from q_w, the integrated gyro quaternion
    quat_scalar(&q_est_dot, DELTA_T);
    quat_add(&q_est, q_est_prev, q_est_dot);     // Integrate orientation rate to find position
    quat_Normalization(&q_est);                 // normalize the orientation of the estimate
                                                //(shown in diagram, plus always use unit quaternions for orientation)
		eulerAngles(q_est,&Madgwick);
}
void Madgwick_imu(MPU6050_t *DataStruct)
{
		static Quaternion_t q_est 	= {1,0,0,0};
		double ax = DataStruct->Ax;
    double ay = DataStruct->Ay;
		double az = DataStruct->Az;
		double gx = DataStruct->Gx;
		double gy = DataStruct->Gy;
		double gz = DataStruct->Gz;
    //Variables and constants
		double F_g [3] = {0};                      // eq(15/21/25) objective function for gravity
    double J_g [3][4] = {0};                   // jacobian matrix for gravity
    Quaternion_t q_est_prev = q_est;
    Quaternion_t q_est_dot = {0};            	// eq 42 and 43
    Quaternion_t gradient = {0};
    //const Quaternion_t q_g_ref = {0, 0, 0, 1};// eq (23) not needed because I used eq 25 instead of eq 21

    Quaternion_t q_a = {0, ax, ay, az};    		// eq (24) raw acceleration values, needs to be normalized
    if (quat_Norm(q_a) == 0) return;
		quat_Normalization(&q_a);              // normalize the acceleration quaternion to be a unit quaternion

    Quaternion_t q_w = {0, gx, gy, gz};  			// equation (10), places gyroscope readings in a quaternion

    quat_scalar(&q_w, 0.5);                 	// equation (12) dq/dt = (1/2)q*w
    q_w = quat_mult(q_est_prev, q_w);        	// equation (12)

    // quat_scalar(&q_w, deltaT);             // eq (13) integrates the angles velocity to position
    // quat_add(&q_w, q_w, q_est_prev);       // addition part of equation (13)

    //Compute the objective function for gravity, equation(15), simplified to equation (25) due to the 0's in the acceleration reference quaternion
    F_g[0] = 2*(q_est_prev.q2 * q_est_prev.q4 - q_est_prev.q1 * q_est_prev.q3) - q_a.q2;
    F_g[1] = 2*(q_est_prev.q1 * q_est_prev.q2 + q_est_prev.q3* q_est_prev.q4) - q_a.q3;
    F_g[2] = 2*(0.5 - q_est_prev.q2 * q_est_prev.q2 - q_est_prev.q3 * q_est_prev.q3) - q_a.q4;

    //Compute the Jacobian matrix, equation (26), for gravity
    J_g[0][0] = -2 * q_est_prev.q3;
    J_g[0][1] =  2 * q_est_prev.q4;
    J_g[0][2] = -2 * q_est_prev.q1;
    J_g[0][3] =  2 * q_est_prev.q2;

    J_g[1][0] = 2 * q_est_prev.q2;
    J_g[1][1] = 2 * q_est_prev.q1;
    J_g[1][2] = 2 * q_est_prev.q4;
    J_g[1][3] = 2 * q_est_prev.q3;

    J_g[2][0] = 0;
    J_g[2][1] = -4 * q_est_prev.q2;
    J_g[2][2] = -4 * q_est_prev.q3;
    J_g[2][3] = 0;

    // now computer the gradient, equation (20), gradient = J_g'*F_g
    gradient.q1 = J_g[0][0] * F_g[0] + J_g[1][0] * F_g[1] + J_g[2][0] * F_g[2];
    gradient.q2 = J_g[0][1] * F_g[0] + J_g[1][1] * F_g[1] + J_g[2][1] * F_g[2];
    gradient.q3 = J_g[0][2] * F_g[0] + J_g[1][2] * F_g[1] + J_g[2][2] * F_g[2];
    gradient.q4 = J_g[0][3] * F_g[0] + J_g[1][3] * F_g[1] + J_g[2][3] * F_g[2];

    // Normalize the gradient, equation (44)
    quat_Normalization(&gradient);
		// Combining
    quat_scalar(&gradient, BETA);             // multiply normalized gradient by beta
    quat_sub(&q_est_dot, q_w, gradient);        // subtract above from q_w, the integrated gyro quaternion
    quat_scalar(&q_est_dot, DELTA_T);
    quat_add(&q_est, q_est_prev, q_est_dot);     // Integrate orientation rate to find position
    quat_Normalization(&q_est);                 // normalize the orientation of the estimate
                                                //(shown in diagram, plus always use unit quaternions for orientation)
		eulerAngles(q_est,&Madgwick);
}
void eulerAngles(Quaternion_t q, Euler_t *Angle)
{

    Angle->yaw 		= atan2f((2*q.q2*q.q3 - 2*q.q1*q.q4), (2*q.q1*q.q1 + 2*q.q2*q.q2 -1));  // equation (7)
    Angle->pitch 	= -asinf(2*q.q2*q.q4 + 2*q.q1*q.q3);                                  // equatino (8)
    Angle->roll  	= atan2f((2*q.q3*q.q4 - 2*q.q1*q.q2), (2*q.q1*q.q1 + 2*q.q4*q.q4 -1));

    Angle->yaw 		*= (180.0f / PI);
    Angle->pitch 	*= (180.0f / PI);
    Angle->roll 	*= (180.0f / PI);
}
void HAL_TIM_PeriodElapsedCallback(TIM_HandleTypeDef *htim)
{
	if(htim->Instance == htim2.Instance)
 {
   HAL_GPIO_TogglePin(GPIOD, GPIO_PIN_12);
	 MPU6050_Read_All(&hi2c1,&MPU6050);
	 Madgwick_update(&MPU6050);

 }
}
/* USER CODE END 4 */

void Error_Handler(void)
{
	__disable_irq();
	while (1)
	{
	}
}
